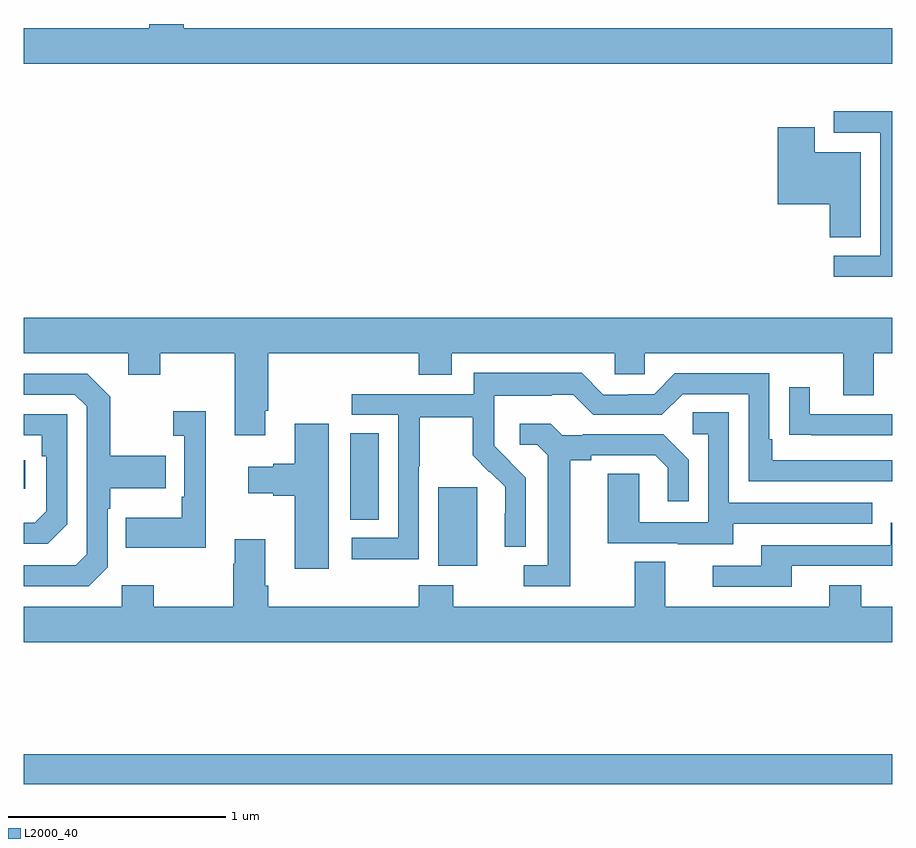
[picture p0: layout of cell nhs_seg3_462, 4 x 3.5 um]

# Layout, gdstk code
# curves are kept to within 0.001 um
import gdstk
lib = gdstk.Library(unit=1e-6, precision=1e-09)
def R(c, l, rs):  # rectangles x0, y0, x1, y1
    for r in rs: c.add(gdstk.rectangle(r[:2], r[2:], *l))
def P(c, l, *ps):  # polygons
    for p in ps: c.add(gdstk.Polygon(p, *l))
L2000_40 = (2000, 40)

nhs_seg3_462 = lib.new_cell('nhs_seg3_462')
R(nhs_seg3_462, L2000_40, [(133,730.9,137,731.036), (134.909,731.906,135.088,732.267), (134.504,732.118,134.635,732.515), (133,732.26,133.006,732.39)])
P(nhs_seg3_462, L2000_40, [(137,734.38),(133.736,734.38),(133.736,734.4),(133.579,734.4),(133.579,734.38),(133,734.38),(133,734.216),(137,734.216)],
  [(137,733.998),(136.731,733.998),(136.731,733.899),(136.944,733.899),(136.944,733.332),(136.731,733.332),(136.731,733.236),(137,733.236)],
  [(136.855,733.81),(136.642,733.81),(136.642,733.924),(136.472,733.924),(136.472,733.571),(136.712,733.571),(136.712,733.417),(136.855,733.417)],
  [(134.113,732.619),(134.126,732.619),(134.126,732.884),(134.819,732.884),(134.819,732.785),(134.971,732.785),(134.971,732.884),(135.723,732.884),(135.723,732.786),(135.861,732.786),(135.861,732.884),(136.775,732.884),(136.775,732.69),(136.915,732.69),(136.915,732.884),(137,732.884),(137,733.048),(133,733.048),(133,732.884),(133.481,732.884),(133.481,732.785),(133.629,732.785),(133.629,732.884),(133.973,732.884),(133.973,732.507),(134.113,732.507)],
  [(134.82,732.364),(134.823,732.364),(134.823,732.588),(135.067,732.588),(135.067,732.413),(135.144,732.336),(135.147,732.339),(135.218,732.269),(135.218,732.146),(135.216,732.146),(135.216,731.992),(135.312,731.992),(135.312,732.31),(135.166,732.458),(135.166,732.555),(135.168,732.555),(135.168,732.689),(135.431,732.689),(135.431,732.693),(135.531,732.693),(135.624,732.6),(135.939,732.6),(136.035,732.696),(136.338,732.696),(136.338,732.294),(137,732.294),(137,732.39),(136.447,732.39),(136.447,732.487),(136.434,732.487),(136.434,732.792),(135.999,732.792),(135.903,732.696),(135.785,732.696),(135.785,732.693),(135.669,732.693),(135.569,732.793),(135.072,732.793),(135.072,732.696),(134.511,732.696),(134.511,732.6),(134.724,732.6),(134.724,732.033),(134.511,732.033),(134.511,731.935),(134.82,731.935)],
  [(133.386,731.898),(133.386,732.167),(133.399,732.167),(133.399,732.263),(133.655,732.263),(133.655,732.411),(133.399,732.411),(133.399,732.683),(133.293,732.789),(133,732.789),(133,732.693),(133.236,732.693),(133.29,732.639),(133.29,731.958),(133.239,731.907),(133,731.907),(133,731.811),(133.299,731.811)],
  [(137,732.603),(136.621,732.603),(136.621,732.727),(136.525,732.727),(136.525,732.508),(136.627,732.508),(136.627,732.507),(137,732.507)],
  [(133.838,732.616),(133.689,732.616),(133.689,732.503),(133.74,732.503),(133.74,732.223),(133.728,732.223),(133.728,732.127),(133.471,732.127),(133.471,731.987),(133.838,731.987)],
  [(136.267,732.099),(136.907,732.099),(136.907,732.195),(136.248,732.195),(136.248,732.611),(136.08,732.611),(136.08,732.51),(136.152,732.51),(136.152,732.105),(135.834,732.105),(135.834,732.329),(135.689,732.329),(135.689,732.009),(136.013,732.009),(136.013,732.005),(136.267,732.005)],
  [(133.2,732.096),(133.2,732.603),(133,732.603),(133,732.507),(133.084,732.507),(133.084,732.41),(133.104,732.41),(133.104,732.156),(133.051,732.103),(133,732.103),(133,732.006),(133.11,732.006)],
  [(135.517,732.392),(135.613,732.392),(135.613,732.414),(135.908,732.414),(135.965,732.357),(135.965,732.201),(136.062,732.201),(136.062,732.394),(135.946,732.51),(135.574,732.51),(135.574,732.507),(135.48,732.507),(135.428,732.559),(135.285,732.559),(135.285,732.462),(135.366,732.462),(135.413,732.415),(135.413,731.907),(135.303,731.907),(135.303,731.811),(135.517,731.811)],
  [(134.404,732.559),(134.249,732.559),(134.249,732.374),(134.15,732.374),(134.15,732.361),(134.034,732.361),(134.034,732.239),(134.15,732.239),(134.15,732.227),(134.249,732.227),(134.249,731.892),(134.404,731.892)],
  [(136.537,731.904),(137,731.904),(137,732.103),(136.992,732.103),(136.992,732),(136.397,732),(136.397,731.904),(136.173,731.904),(136.173,731.808),(136.537,731.808)],
  [(137,731.716),(136.857,731.716),(136.857,731.815),(136.709,731.815),(136.709,731.716),(135.955,731.716),(135.955,731.924),(135.815,731.924),(135.815,731.716),(134.979,731.716),(134.979,731.815),(134.819,731.815),(134.819,731.716),(134.126,731.716),(134.126,731.812),(134.113,731.812),(134.113,732.028),(133.973,732.028),(133.973,731.915),(133.966,731.915),(133.966,731.716),(133.599,731.716),(133.599,731.815),(133.452,731.815),(133.452,731.716),(133,731.716),(133,731.552),(137,731.552)])

lib.write_gds('nhs_seg3_462.gds')
